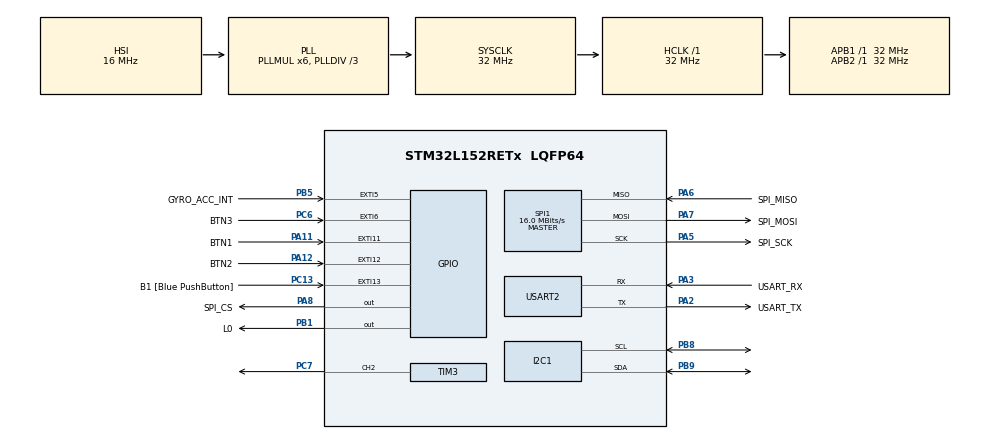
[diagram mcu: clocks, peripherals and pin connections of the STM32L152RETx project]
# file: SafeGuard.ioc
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I2C1.I2C_Mode=I2C_Fast
Mcu.Family=STM32L1
Mcu.Name=STM32L152RETx
Mcu.Package=LQFP64
NVIC.EXTI15_10_IRQn=true\:0\:0\:false\:false\:true\:true\:true\:true
NVIC.EXTI9_5_IRQn=true\:0\:0\:false\:false\:true\:true\:true\:true
NVIC.PriorityGroup=NVIC_PRIORITYGROUP_0
NVIC.SPI1_IRQn=true\:0\:0\:false\:false\:true\:true\:true\:true
NVIC.TIM3_IRQn=true\:0\:0\:false\:false\:true\:true\:true\:true
NVIC.TIM6_IRQn=true\:0\:0\:false\:false\:true\:true\:true\:true
PA11.GPIO_Label=BTN1
PA11.Signal=GPXTI11
PA12.GPIO_Label=BTN2
PA12.Signal=GPXTI12
PA2.GPIO_Label=USART_TX
PA2.GPIO_PuPd=GPIO_NOPULL
PA2.Mode=Asynchronous
PA2.Signal=USART2_TX
PA3.GPIO_Label=USART_RX
PA3.Mode=Asynchronous
PA3.Signal=USART2_RX
PA5.GPIO_Label=SPI_SCK
PA5.Mode=Full_Duplex_Master
PA5.Signal=SPI1_SCK
PA6.GPIO_Label=SPI_MISO
PA6.Mode=Full_Duplex_Master
PA6.Signal=SPI1_MISO
PA7.GPIO_Label=SPI_MOSI
PA7.Mode=Full_Duplex_Master
PA7.Signal=SPI1_MOSI
PA8.GPIO_Label=SPI_CS
PA8.Signal=GPIO_Output
PB1.GPIO_Label=L0
PB1.Signal=GPIO_Output
PB5.GPIO_Label=GYRO_ACC_INT
PB5.Signal=GPXTI5
PB8.GPIO_Speed=GPIO_SPEED_FREQ_VERY_HIGH
PB8.Mode=I2C
PB8.Signal=I2C1_SCL
PB9.Mode=I2C
PB9.Signal=I2C1_SDA
PC13-WKUP2.GPIO_Label=B1 [Blue PushButton]
PC13-WKUP2.Signal=GPXTI13
PC6.GPIO_Label=BTN3
PC6.Signal=GPXTI6
PC7.Signal=S_TIM3_CH2
ProjectManager.HeapSize=0x200
ProjectManager.StackSize=0x400
ProjectManager.TargetToolchain=STM32CubeIDE
RCC.48MHZClocksFreq_Value=48000000
RCC.AHBFreq_Value=32000000
RCC.APB1Freq_Value=32000000
RCC.APB1TimFreq_Value=32000000
RCC.APB2Freq_Value=32000000
RCC.APB2TimFreq_Value=32000000
RCC.HCLKFreq_Value=32000000
RCC.HSE_VALUE=8000000
RCC.HSI_VALUE=16000000
RCC.LSE_VALUE=32768
RCC.MSI_VALUE=2097000
RCC.PLLDIV=RCC_PLL_DIV3
RCC.PLLMUL=RCC_PLL_MUL6
RCC.RTCClockSelectionVirtual=RCC_RTCCLKSOURCE_LSE
RCC.SYSCLKFreq_VALUE=32000000
RCC.SYSCLKSource=RCC_SYSCLKSOURCE_PLLCLK
RCC.USBOutput=48000000
RCC.VCOOutputFreq_Value=96000000
SH.S_TIM3_CH2.0=TIM3_CH2,PWM Generation2 CH2
SPI1.CalculateBaudRate=16.0 MBits/s
SPI1.Direction=SPI_DIRECTION_2LINES
SPI1.Mode=SPI_MODE_MASTER
SPI1.VirtualType=VM_MASTER
TIM3.Channel-PWM\ Generation2\ CH2=TIM_CHANNEL_2
TIM3.Period=1032
TIM3.Prescaler=31
TIM3.Pulse-PWM\ Generation2\ CH2=516
TIM6.Period=200
TIM6.Prescaler=31999
USART2.VirtualMode=VM_ASYNC
VP_TIM3_VS_ClockSourceINT.Mode=Internal
VP_TIM6_VS_ClockSourceINT.Mode=Enable_Timer
board=NUCLEO-L152RE

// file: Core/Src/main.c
/* USER CODE BEGIN Header */
/**
 ******************************************************************************
 * @file           : main.c
 * @brief          : Main program body
 ******************************************************************************
 * @attention
 *
 * Copyright (c) 2025 STMicroelectronics.
 * All rights reserved.
 *
 * This software is licensed under terms that can be found in the LICENSE file
 * in the root directory of this software component.
 * If no LICENSE file comes with this software, it is provided AS-IS.
 *
 ******************************************************************************
 */
/* USER CODE END Header */
#include "main.h"

/* USER CODE BEGIN Includes */
#include <string.h>
#include <stdio.h>
#include "lsm6dso_reg.h"
#include "cycle_dwt.h"
#include "NanoEdgeAI.h"
#include "knowledge.h"
/* USER CODE END Includes */

/* USER CODE BEGIN PD */
/************************************************************ NEAI algorithm defines begin ************************************************************/
/************************************************************ Global settings part ************************************************************/
#ifndef AXIS
#define AXIS                          3                       /* Axis should be defined between 1 and 3 */
#endif
#ifndef SAMPLES
#define SAMPLES                       128                     /* Should be between 16 & 4096 */
#endif
#define MAX_FIFO_SIZE                   256                     /* The maximum number of data we can get in the FIFO is 512 but here we define max to 256 for our need */
#define FIFO_FULL                       512                     /* FIFO full size */
#define FIFO_WORD                       7                       /* FIFO word size composed of 1 byte which is identification tag & 6 bytes of fixed data */
/************************************************************ Sensor type part ************************************************************/
#define ACCELEROMETER                                           /* Could be either ACCELEROMETER or GYROSCOPE */
/************************************************************ Sensors configuration part ************************************************************/
#ifdef ACCELEROMETER
#ifndef ACCELEROMETER_ODR
#define ACCELEROMETER_ODR           LSM6DSO_XL_ODR_1667Hz   /* Should be between LSM6DSO_XL_ODR_12Hz5 and LSM6DSO_XL_ODR_6667Hz */
#endif
#ifndef ACCELEROMETER_FS
#define ACCELEROMETER_FS            LSM6DSO_2g             /* Should be between LSM6DSO_2g and LSM6DSO_16g */
#endif
#else
#ifndef GYROSCOPE_ODR
#define GYROSCOPE_ODR               LSM6DSO_GY_ODR_1667Hz   /* Should be between LSM6DSO_GY_ODR_12Hz5 and LSM6DSO_GY_ODR_6667Hz */
#endif
#ifndef GYROSCOPE_FS
#define GYROSCOPE_FS                LSM6DSO_2000dps         /* Should be between LSM6DSO_125dps and LSM6DSO_2000dps */
#endif
#endif
/************************************************************ Datalogger / NEAI mode part ************************************************************/
#ifndef NEAI_MODE
#define NEAI_MODE                     1                       /* 0: Datalogger mode, 1: NEAI functions mode */
#endif
/************************************************************ NEAI algorithm defines end ************************************************************/

// DETECTION DE CHUTE - PARAMETRES
#define FALL_DETECTION_THRESHOLD_IMPACT      95    // Probabilité minimale pour "Tomber"
#define MIN_CONSECUTIVE_FALLS                2     // Besoin de 2 détections consécutives
#define FALL_RECOVERY_THRESHOLD              60    // Si Tomber < 60%, reset compteur
#define MAX_FALL_SEQUENCE_TIME_MS           3000   // 3 secondes max pour séquence de chute
#define POST_FALL_DURATION_MS               10000  // 10 secondes post-chute
#define DEBUG_FALL_DETECTION				0	   // Mode débug 0 pour désactivé, 1 pour activé
/* USER CODE END PD */

I2C_HandleTypeDef hi2c1;

SPI_HandleTypeDef hspi1;

TIM_HandleTypeDef htim3;
TIM_HandleTypeDef htim6;

UART_HandleTypeDef huart2;

/* USER CODE BEGIN PV */
static uint8_t whoamI, rst;
uint16_t neai_id_class = 0;
uint8_t neai_state = 0;
volatile uint8_t drdy = 0;
uint16_t data_left = (uint16_t) SAMPLES, number_read = 0, neai_buffer_ptr = 0;
float neai_time = 0.0;
static float neai_buffer[AXIS * SAMPLES] = {0.0};
static float neai_output_buffer[CLASS_NUMBER] = {0.0};

const char *id2class[CLASS_NUMBER + 1] = {
		"unknown",
		"Tomber",
		"Pas_bouger",
		"Marche",
};

// DETECTION DE CHUTE - VARIABLES
uint8_t fall_detected = 0;
uint32_t last_fall_time = 0;
#define FALL_COOLDOWN_MS 5000  // 5 secondes entre détections
static uint8_t consecutive_fall_count = 0;
static uint32_t first_fall_time = 0;

// Variables mode post-chute (déplacées ici depuis la fonction)
static uint8_t post_fall_mode = 0;
static uint32_t post_fall_start_time = 0;

static uint32_t total_classifications = 0;
static uint32_t false_positives_avoided = 0;

stmdev_ctx_t dev_ctx;

int alarme=0;
char tempo;
int debounce_flag =0, sequence =0;
/* USER CODE END PV */

void SystemClock_Config(void);
static void MX_GPIO_Init(void);
static void MX_I2C1_Init(void);
static void MX_USART2_UART_Init(void);
static void MX_TIM3_Init(void);
static void MX_TIM6_Init(void);
static void MX_SPI1_Init(void);
/* USER CODE BEGIN PFP */
static int32_t platform_write(void *handle, uint8_t reg, const uint8_t *bufp, uint16_t len);
static int32_t platform_read(void *handle, uint8_t reg, uint8_t *bufp, uint16_t len);
static void lsm6dso_initialize(void);
static void lsm6dso_initialize_basics(void);
static void lsm6dso_initialize_fifo(void);
static void lsm6dso_get_buffer_from_fifo(uint16_t nb);
static float lsm6dso_convert_gyro_data_to_mdps(int16_t gyro_raw_data);
static float lsm6dso_convert_accel_data_to_mg(int16_t accel_raw_data);
static void iks01a3_i2c_stuck_quirk(void);

static void check_fall_detection(void);
static void trigger_fall_alert(void);
/* USER CODE END PFP */

/* USER CODE BEGIN 0 */
void buzzer (uint8_t buzzerState)
{
	if(buzzerState)
	{
		HAL_TIM_PWM_Start_IT(&htim3, TIM_CHANNEL_2);
		printf("Buzzer ON\r\n");
	}
	else
	{
		HAL_TIM_PWM_Stop_IT(&htim3, TIM_CHANNEL_2);
		printf("Buzzer OFF\r\n");
	}
}

void procedure_alarme (void)
{
	tempo = 0x38;
	while (alarme ==1 && tempo>0x30)
	{
		MAX7219_DisplayChar(1, tempo);
		MAX7219_DisplayChar(2, 'S');
		MAX7219_DisplayChar(3, 'E');
		MAX7219_DisplayChar(4, 'C');
		TIM3->ARR = 1032;
		TIM3->CCR2 = TIM3->ARR /2;
		buzzer(1);
		HAL_Delay(500);
		buzzer(0);
		HAL_Delay(500);
		tempo--;
	}

	if (alarme ==1) alarme =2;

	while (alarme ==2)
	{
		TIM3->ARR = 206;
		TIM3->CCR2 = TIM3->ARR/2;
		buzzer(1);
		MAX7219_DisplayChar(1, 'A');
		MAX7219_DisplayChar(2, 'L');
		MAX7219_DisplayChar(3, 'R');
		MAX7219_DisplayChar(4, 'T');
	}
	buzzer(0);
	MAX7219_Clear();
}
/* USER CODE END 0 */

int main(void)
{

  /* USER CODE BEGIN 1 */
	/* Initialize mems driver interface */
	dev_ctx.write_reg = platform_write;
	dev_ctx.read_reg = platform_read;
	dev_ctx.handle = &hi2c1;
  /* USER CODE END 1 */

  /* MCU Configuration--------------------------------------------------------*/

  /* Reset of all peripherals, Initializes the Flash interface and the Systick. */
  HAL_Init();

  /* Configure the system clock */
  SystemClock_Config();

  /* USER CODE BEGIN SysInit */
	iks01a3_i2c_stuck_quirk();
  /* USER CODE END SysInit */

  /* Initialize all configured peripherals */
  MX_GPIO_Init();
  MX_I2C1_Init();
  MX_USART2_UART_Init();
  MX_TIM3_Init();
  MX_TIM6_Init();
  MX_SPI1_Init();
  MAX7219_Init();
  /* USER CODE BEGIN 2 */
	KIN1_InitCycleCounter();
	KIN1_EnableCycleCounter();
	lsm6dso_initialize();
	if (NEAI_MODE) {
		neai_state = neai_classification_init(knowledge);
		printf("Initialize NEAI Classification library. NEAI init return: %d.\r\n", neai_state);

		if (neai_state != NEAI_OK) {
			printf("ERREUR: Échec d'initialisation NanoEdgeAI!\r\n");
			// Gestion d'erreur appropriée
		}

		printf("SafeGuard - Système de détection de chute activé\r\n");
		printf("Classes disponibles: %s, %s, %s\r\n",
				id2class[1], id2class[2], id2class[3]);
	}
  /* USER CODE END 2 */

  /* Infinite loop */
  /* USER CODE BEGIN WHILE */
	while (1)
	{
		uint8_t wtm_flag = 0, status2 = 0;
		uint16_t num = 0;
		if (drdy) {
			/* Reset data ready condition */
			drdy = 0;
			lsm6dso_read_reg(&dev_ctx, LSM6DSO_FIFO_STATUS2, &status2, 1);
			wtm_flag = status2 >> 7;
			if (wtm_flag) {
				lsm6dso_fifo_data_level_get(&dev_ctx, &num);
				if (data_left < num) {
					num = data_left;
				}
				lsm6dso_get_buffer_from_fifo(num);
				data_left -= num;
				number_read += num;
				if (data_left == 0) {
					lsm6dso_fifo_mode_set(&dev_ctx, LSM6DSO_BYPASS_MODE);
#if NEAI_MODE
					uint32_t cycles_cnt = 0;

					// CHANGÉ: Classification au lieu de learn/detect
					KIN1_ResetCycleCounter();
					neai_state = neai_classification(neai_buffer, neai_output_buffer, &neai_id_class);
					cycles_cnt = KIN1_GetCycleCounter();
					neai_time = (cycles_cnt * 1000000.0) / HAL_RCC_GetSysClockFreq();

					// Affichage des résultats
					printf("Classe détectée: %s (ID: %d, Confiance: %.1f%%).\r\n",
							id2class[neai_id_class], neai_id_class, neai_output_buffer[neai_id_class] * 100.0f);
					printf("NEAI classification return: %d. Cycles: %ld = %.1f µs.\r\n",
							neai_state, cycles_cnt, neai_time);

					// Affichage détaillé des probabilités
					printf("Probabilités: \r\n");
					for(int i = 1; i <= CLASS_NUMBER; i++) {
						printf("%s=%.1f%% ", id2class[i], neai_output_buffer[i-1] * 100.0f);
					}
					printf("\r\n");

					// AJOUTÉ: Vérification de détection de chute
					check_fall_detection();
#else
					// Mode datalogger - affichage des données brutes
					for (uint16_t i = 0; i < AXIS * SAMPLES; i++) {
						printf("%.3f ", neai_buffer[i]);
					}
					printf("\r\n");
#endif
					// Reset pour le prochain cycle
					data_left = (uint16_t) SAMPLES;
					number_read = 0;
					memset(neai_buffer, 0x00, AXIS * SAMPLES * sizeof(float));

					if (SAMPLES <= MAX_FIFO_SIZE) {
						lsm6dso_fifo_watermark_set(&dev_ctx, (uint16_t) SAMPLES);
					}
					else {
						lsm6dso_fifo_watermark_set(&dev_ctx, (uint16_t) MAX_FIFO_SIZE);
					}
					lsm6dso_fifo_mode_set(&dev_ctx, LSM6DSO_FIFO_MODE);
				}
				else if (data_left < MAX_FIFO_SIZE) {
					lsm6dso_fifo_watermark_set(&dev_ctx, data_left);
				}
			}
		}
    /* USER CODE END WHILE */

	}
}

void SystemClock_Config(void)
{
  RCC_OscInitTypeDef RCC_OscInitStruct = {0};
  RCC_ClkInitTypeDef RCC_ClkInitStruct = {0};

  /** Configure the main internal regulator output voltage
  */
  __HAL_PWR_VOLTAGESCALING_CONFIG(PWR_REGULATOR_VOLTAGE_SCALE1);

  /** Initializes the RCC Oscillators according to the specified parameters
  * in the RCC_OscInitTypeDef structure.
  */
  RCC_OscInitStruct.OscillatorType = RCC_OSCILLATORTYPE_HSI;
  RCC_OscInitStruct.HSIState = RCC_HSI_ON;
  RCC_OscInitStruct.HSICalibrationValue = RCC_HSICALIBRATION_DEFAULT;
  RCC_OscInitStruct.PLL.PLLState = RCC_PLL_ON;
  RCC_OscInitStruct.PLL.PLLSource = RCC_PLLSOURCE_HSI;
  RCC_OscInitStruct.PLL.PLLMUL = RCC_PLL_MUL6;
  RCC_OscInitStruct.PLL.PLLDIV = RCC_PLL_DIV3;
  if (HAL_RCC_OscConfig(&RCC_OscInitStruct) != HAL_OK)
  {
    Error_Handler();
  }

  /** Initializes the CPU, AHB and APB buses clocks
  */
  RCC_ClkInitStruct.ClockType = RCC_CLOCKTYPE_HCLK|RCC_CLOCKTYPE_SYSCLK
                              |RCC_CLOCKTYPE_PCLK1|RCC_CLOCKTYPE_PCLK2;
  RCC_ClkInitStruct.SYSCLKSource = RCC_SYSCLKSOURCE_PLLCLK;
  RCC_ClkInitStruct.AHBCLKDivider = RCC_SYSCLK_DIV1;
  RCC_ClkInitStruct.APB1CLKDivider = RCC_HCLK_DIV1;
  RCC_ClkInitStruct.APB2CLKDivider = RCC_HCLK_DIV1;

  if (HAL_RCC_ClockConfig(&RCC_ClkInitStruct, FLASH_LATENCY_1) != HAL_OK)
  {
    Error_Handler();
  }
}

static void MX_I2C1_Init(void)
{

  hi2c1.Instance = I2C1;
  hi2c1.Init.ClockSpeed = 400000;
  hi2c1.Init.DutyCycle = I2C_DUTYCYCLE_2;
  hi2c1.Init.OwnAddress1 = 0;
  hi2c1.Init.AddressingMode = I2C_ADDRESSINGMODE_7BIT;
  hi2c1.Init.DualAddressMode = I2C_DUALADDRESS_DISABLE;
  hi2c1.Init.OwnAddress2 = 0;
  hi2c1.Init.GeneralCallMode = I2C_GENERALCALL_DISABLE;
  hi2c1.Init.NoStretchMode = I2C_NOSTRETCH_DISABLE;
  if (HAL_I2C_Init(&hi2c1) != HAL_OK)
  {
    Error_Handler();
  }

}

static void MX_SPI1_Init(void)
{

  /* SPI1 parameter configuration*/
  hspi1.Instance = SPI1;
  hspi1.Init.Mode = SPI_MODE_MASTER;
  hspi1.Init.Direction = SPI_DIRECTION_2LINES;
  hspi1.Init.DataSize = SPI_DATASIZE_8BIT;
  hspi1.Init.CLKPolarity = SPI_POLARITY_LOW;
  hspi1.Init.CLKPhase = SPI_PHASE_1EDGE;
  hspi1.Init.NSS = SPI_NSS_SOFT;
  hspi1.Init.BaudRatePrescaler = SPI_BAUDRATEPRESCALER_2;
  hspi1.Init.FirstBit = SPI_FIRSTBIT_MSB;
  hspi1.Init.TIMode = SPI_TIMODE_DISABLE;
  hspi1.Init.CRCCalculation = SPI_CRCCALCULATION_DISABLE;
  hspi1.Init.CRCPolynomial = 10;
  if (HAL_SPI_Init(&hspi1) != HAL_OK)
  {
    Error_Handler();
  }

}

static void MX_TIM3_Init(void)
{

  TIM_ClockConfigTypeDef sClockSourceConfig = {0};
  TIM_MasterConfigTypeDef sMasterConfig = {0};
  TIM_OC_InitTypeDef sConfigOC = {0};

  htim3.Instance = TIM3;
  htim3.Init.Prescaler = 31;
  htim3.Init.CounterMode = TIM_COUNTERMODE_UP;
  htim3.Init.Period = 1032;
  htim3.Init.ClockDivision = TIM_CLOCKDIVISION_DIV1;
  htim3.Init.AutoReloadPreload = TIM_AUTORELOAD_PRELOAD_DISABLE;
  if (HAL_TIM_Base_Init(&htim3) != HAL_OK)
  {
    Error_Handler();
  }
  sClockSourceConfig.ClockSource = TIM_CLOCKSOURCE_INTERNAL;
  if (HAL_TIM_ConfigClockSource(&htim3, &sClockSourceConfig) != HAL_OK)
  {
    Error_Handler();
  }
  if (HAL_TIM_PWM_Init(&htim3) != HAL_OK)
  {
    Error_Handler();
  }
  sMasterConfig.MasterOutputTrigger = TIM_TRGO_RESET;
  sMasterConfig.MasterSlaveMode = TIM_MASTERSLAVEMODE_DISABLE;
  if (HAL_TIMEx_MasterConfigSynchronization(&htim3, &sMasterConfig) != HAL_OK)
  {
    Error_Handler();
  }
  sConfigOC.OCMode = TIM_OCMODE_PWM1;
  sConfigOC.Pulse = 516;
  sConfigOC.OCPolarity = TIM_OCPOLARITY_HIGH;
  sConfigOC.OCFastMode = TIM_OCFAST_DISABLE;
  if (HAL_TIM_PWM_ConfigChannel(&htim3, &sConfigOC, TIM_CHANNEL_2) != HAL_OK)
  {
    Error_Handler();
  }
  HAL_TIM_MspPostInit(&htim3);

}

static void MX_TIM6_Init(void)
{

  TIM_MasterConfigTypeDef sMasterConfig = {0};

  htim6.Instance = TIM6;
  htim6.Init.Prescaler = 31999;
  htim6.Init.CounterMode = TIM_COUNTERMODE_UP;
  htim6.Init.Period = 200;
  htim6.Init.AutoReloadPreload = TIM_AUTORELOAD_PRELOAD_DISABLE;
  if (HAL_TIM_Base_Init(&htim6) != HAL_OK)
  {
    Error_Handler();
  }
  sMasterConfig.MasterOutputTrigger = TIM_TRGO_RESET;
  sMasterConfig.MasterSlaveMode = TIM_MASTERSLAVEMODE_DISABLE;
  if (HAL_TIMEx_MasterConfigSynchronization(&htim6, &sMasterConfig) != HAL_OK)
  {
    Error_Handler();
  }

}

static void MX_USART2_UART_Init(void)
{

  huart2.Instance = USART2;
  huart2.Init.BaudRate = 115200;
  huart2.Init.WordLength = UART_WORDLENGTH_8B;
  huart2.Init.StopBits = UART_STOPBITS_1;
  huart2.Init.Parity = UART_PARITY_NONE;
  huart2.Init.Mode = UART_MODE_TX_RX;
  huart2.Init.HwFlowCtl = UART_HWCONTROL_NONE;
  huart2.Init.OverSampling = UART_OVERSAMPLING_16;
  if (HAL_UART_Init(&huart2) != HAL_OK)
  {
    Error_Handler();
  }

}

static void MX_GPIO_Init(void)
{
  GPIO_InitTypeDef GPIO_InitStruct = {0};

  /* GPIO Ports Clock Enable */
  __HAL_RCC_GPIOC_CLK_ENABLE();
  __HAL_RCC_GPIOA_CLK_ENABLE();
  __HAL_RCC_GPIOB_CLK_ENABLE();

  /*Configure GPIO pin Output Level */
  HAL_GPIO_WritePin(L0_GPIO_Port, L0_Pin, GPIO_PIN_RESET);

  /*Configure GPIO pin Output Level */
  HAL_GPIO_WritePin(SPI_CS_GPIO_Port, SPI_CS_Pin, GPIO_PIN_RESET);

  /*Configure GPIO pins : B1_Pin BTN3_Pin */
  GPIO_InitStruct.Pin = B1_Pin|BTN3_Pin;
  GPIO_InitStruct.Mode = GPIO_MODE_IT_RISING;
  GPIO_InitStruct.Pull = GPIO_NOPULL;
  HAL_GPIO_Init(GPIOC, &GPIO_InitStruct);

  /*Configure GPIO pin : L0_Pin */
  GPIO_InitStruct.Pin = L0_Pin;
  GPIO_InitStruct.Mode = GPIO_MODE_OUTPUT_PP;
  GPIO_InitStruct.Pull = GPIO_NOPULL;
  GPIO_InitStruct.Speed = GPIO_SPEED_FREQ_LOW;
  HAL_GPIO_Init(L0_GPIO_Port, &GPIO_InitStruct);

  /*Configure GPIO pin : SPI_CS_Pin */
  GPIO_InitStruct.Pin = SPI_CS_Pin;
  GPIO_InitStruct.Mode = GPIO_MODE_OUTPUT_PP;
  GPIO_InitStruct.Pull = GPIO_NOPULL;
  GPIO_InitStruct.Speed = GPIO_SPEED_FREQ_LOW;
  HAL_GPIO_Init(SPI_CS_GPIO_Port, &GPIO_InitStruct);

  /*Configure GPIO pins : BTN1_Pin BTN2_Pin */
  GPIO_InitStruct.Pin = BTN1_Pin|BTN2_Pin;
  GPIO_InitStruct.Mode = GPIO_MODE_IT_RISING;
  GPIO_InitStruct.Pull = GPIO_NOPULL;
  HAL_GPIO_Init(GPIOA, &GPIO_InitStruct);

  /*Configure GPIO pin : GYRO_ACC_INT_Pin */
  GPIO_InitStruct.Pin = GYRO_ACC_INT_Pin;
  GPIO_InitStruct.Mode = GPIO_MODE_IT_RISING;
  GPIO_InitStruct.Pull = GPIO_NOPULL;
  HAL_GPIO_Init(GYRO_ACC_INT_GPIO_Port, &GPIO_InitStruct);

  /* EXTI interrupt init*/
  HAL_NVIC_SetPriority(EXTI9_5_IRQn, 0, 0);
  HAL_NVIC_EnableIRQ(EXTI9_5_IRQn);

  HAL_NVIC_SetPriority(EXTI15_10_IRQn, 0, 0);
  HAL_NVIC_EnableIRQ(EXTI15_10_IRQn);

}

/* USER CODE BEGIN 4 */
/**
 * @brief  Vérifie si une chute a été détectée avec filtres anti-faux-positifs et anti-cascade
 * @retval None
 */
static void check_fall_detection(void)
{
	uint32_t current_time = HAL_GetTick();

	// === FILTRE COOLDOWN GLOBAL ===
	// Éviter les détections multiples rapprochées
	if (current_time - last_fall_time < FALL_COOLDOWN_MS) {
		return;
	}

	// === MODE POST-CHUTE ===
	// Ignorer toute détection pendant 10s après une chute confirmée
	if (post_fall_mode) {
		if (current_time - post_fall_start_time > POST_FALL_DURATION_MS) {
			post_fall_mode = 0;
			printf("🟢 Fin mode post-chute, surveillance normale reprise\r\n");
		} else {
			printf("⏳ Mode post-chute actif (%lu/%d ms)\r\n",
					current_time - post_fall_start_time, POST_FALL_DURATION_MS);
			return;
		}
	}

	float tomber_prob = neai_output_buffer[0] * 100.0f;
	float pas_bouger_prob = neai_output_buffer[1] * 100.0f;
	float marche_prob = neai_output_buffer[2] * 100.0f;

#ifdef DEBUG_FALL_DETECTION
	printf("DEBUG - Classe: %d (%s) | Tomber: %.1f%% | Pas_bouger: %.1f%% | Marche: %.1f%% | Count: %d\r\n",
			neai_id_class, id2class[neai_id_class], tomber_prob, pas_bouger_prob, marche_prob, consecutive_fall_count);
#endif

	// === FILTRE 1: SEUIL PLUS STRICT ===
	if (neai_id_class == 1 && tomber_prob > FALL_DETECTION_THRESHOLD_IMPACT) {

		// Première détection de chute potentielle
		if (consecutive_fall_count == 0) {
			first_fall_time = current_time;
		}

		consecutive_fall_count++;
		printf("🟡 Chute potentielle %d/%d (%.1f%% > %.1f%%)\r\n",
				consecutive_fall_count, MIN_CONSECUTIVE_FALLS, tomber_prob, (float)FALL_DETECTION_THRESHOLD_IMPACT);

		// === FILTRE 2: DÉTECTIONS CONSÉCUTIVES ===
		if (consecutive_fall_count >= MIN_CONSECUTIVE_FALLS) {

			// === FILTRE 3: DURÉE RAISONNABLE DE SÉQUENCE ===
			uint32_t sequence_duration = current_time - first_fall_time;
			if (sequence_duration <= MAX_FALL_SEQUENCE_TIME_MS) {

				// === VRAIE CHUTE DÉTECTÉE ===
				fall_detected = 1;
				last_fall_time = current_time;
				consecutive_fall_count = 0; // Reset pour prochaine fois

				printf("\n🚨 === ALERTE CHUTE CONFIRMÉE === 🚨\r\n");
				printf("Probabilité finale: %.1f%%\r\n", tomber_prob);
				printf("Détections consécutives: %d\r\n", MIN_CONSECUTIVE_FALLS);
				printf("Durée séquence: %lu ms\r\n", sequence_duration);

				trigger_fall_alert();

				// === ACTIVATION MODE POST-CHUTE ===
				post_fall_mode = 1;
				post_fall_start_time = current_time;
				printf("⏳ Mode post-chute activé pour %d secondes\r\n", POST_FALL_DURATION_MS/1000);

				return; // Sortir immédiatement pour éviter cascade

			} else {
				// Séquence trop longue = probablement faux positif
				printf("❌ Séquence trop longue (%lu ms), reset\r\n", sequence_duration);
				consecutive_fall_count = 0;
			}
		}
	}
	// === RESET DU COMPTEUR ===
	else if (neai_id_class == 1 && tomber_prob < FALL_RECOVERY_THRESHOLD) {
		// Tomber détecté mais confiance trop faible = reset
		if (consecutive_fall_count > 0) {
			printf("🔄 Reset compteur chute (%.1f%% < %.1f%%)\r\n", tomber_prob, (float)FALL_RECOVERY_THRESHOLD);
			false_positives_avoided++;
		}
		consecutive_fall_count = 0;
	}
	else if (neai_id_class != 1) {
		// Autre classe détectée = reset total
		if (consecutive_fall_count > 0) {
			printf("🔄 Reset compteur chute (classe: %s)\r\n", id2class[neai_id_class]);
			false_positives_avoided++;
		}
		consecutive_fall_count = 0;

		// Affichage status normal (seulement si pas en mode post-chute)
		switch(neai_id_class) {
		case 2: // Pas bouger
			printf("🟢 Statut: Immobile (%.1f%%)\r\n", pas_bouger_prob);
			break;
		case 3: // Marche
			printf("🔵 Statut: En mouvement/Marche (%.1f%%)\r\n", marche_prob);
			break;
		default:
			printf("❓ Classe inconnue: %d\r\n", neai_id_class);
			break;
		}
	}

	// === TIMEOUT DE SÉQUENCE ===
	if (consecutive_fall_count > 0 && (current_time - first_fall_time) > MAX_FALL_SEQUENCE_TIME_MS) {
		printf("⏰ Timeout séquence chute, reset\r\n");
		false_positives_avoided++;
		consecutive_fall_count = 0;
	}

	total_classifications++;
}

/**
 * @brief  Déclenche l'alerte de chute (LED, buzzer, transmission, etc.)
 * @retval None
 */
static void trigger_fall_alert(void)
{
	// Allumer la LED d'alerte
	HAL_GPIO_WritePin(L0_GPIO_Port, L0_Pin, GPIO_PIN_SET);

	// TODO: Ajouter ici:
	// - Activation buzzer/sirène
	alarme = 1;
	procedure_alarme();
	// - Envoi SMS/notification
	// - Transmission radio/LoRa/WiFi
	// - Logs dans mémoire

	printf("🚨 Procédures d'urgence activées!\r\n");
	printf("Timestamp: %lu ms\r\n", HAL_GetTick());

	// Simulation temporisation d'alerte (à remplacer par vraie logique)
	HAL_Delay(1000);
	HAL_GPIO_WritePin(L0_GPIO_Port, L0_Pin, GPIO_PIN_RESET);
}

/**
 * @brief  Redirecting stdout to USART2 which is connected on the STLINK port
 * @retval
 * @param
 */
int __io_putchar(int ch)
{
	uint8_t c[1];
	c[0] = ch & 0x00FF;
	HAL_UART_Transmit(&huart2, &*c, 1, 10);
	return ch;
}

/**
 * @brief  EXTI line rising detection callback.
 * @param  GPIO_Pin Specifies the port pin connected to corresponding EXTI line.
 * @retval None
 */
void HAL_GPIO_EXTI_Callback(uint16_t GPIO_Pin)
{
	if (!debounce_flag)
		{
			__HAL_TIM_SET_COUNTER(&htim6, 0);
			HAL_TIM_Base_Start_IT(&htim6);

			switch (GPIO_Pin)
			{
			case (B1_Pin):
					if (alarme ==1) alarme =0;
					break;

			case (BTN1_Pin):
					if (sequence ==0 && alarme ==2) sequence =1;
					else sequence =0;
					break;

			case (BTN2_Pin):
					if (sequence ==0 && alarme ==2) sequence =2;
					else sequence =0;
					break;

			case (BTN3_Pin):
					if (sequence ==0 && alarme ==2)
						{
							sequence =3;
							alarme = 0;
						}
					else sequence =0;
					break;
			}
		}

	switch(GPIO_Pin) {
		case GYRO_ACC_INT_Pin:
			drdy = 1;
			break;

	}
}

/*
 * @brief  Write generic device register (platform dependent)
 *
 * @param  handle    customizable argument. In this examples is used in
 *                   order to select the correct sensor bus handler.
 * @param  reg       register to write
 * @param  bufp      pointer to data to write in register reg
 * @param  len       number of consecutive register to write
 *
 */
static int32_t platform_write(void *handle, uint8_t reg, const uint8_t *bufp,
		uint16_t len)
{
	HAL_I2C_Mem_Write(handle, LSM6DSO_I2C_ADD_H, reg, I2C_MEMADD_SIZE_8BIT, (uint8_t*) bufp, len, 1000);
	return 0;
}

/*
 * @brief  Read generic device register (platform dependent)
 *
 * @param  handle    customizable argument. In this examples is used in
 *                   order to select the correct sensor bus handler.
 * @param  reg       register to read
 * @param  bufp      pointer to buffer that store the data read
 * @param  len       number of consecutive register to read
 *
 */
static int32_t platform_read(void *handle, uint8_t reg, uint8_t *bufp,
		uint16_t len)
{
	HAL_I2C_Mem_Read(handle, LSM6DSO_I2C_ADD_H, reg, I2C_MEMADD_SIZE_8BIT, bufp, len, 1000);
	return 0;
}

/*
 * @brief  Initialize LSM6DSO sensor interface
 *
 * @param  No
 *
 * @return No
 *
 */
static void lsm6dso_initialize()
{
	lsm6dso_initialize_basics();
#ifdef ACCELEROMETER
	/* Accelelerometer configuration */
	lsm6dso_xl_data_rate_set(&dev_ctx, ACCELEROMETER_ODR);
	lsm6dso_xl_full_scale_set(&dev_ctx, ACCELEROMETER_FS);
#else
	/* Gyroscope configuration */
	lsm6dso_gy_data_rate_set(&dev_ctx, GYROSCOPE_ODR);
	lsm6dso_gy_full_scale_set(&dev_ctx, GYROSCOPE_FS);
#endif
	lsm6dso_initialize_fifo();
}

/*
 * @brief  Initialize LSM6DSO basics
 *
 * @param  No
 *
 * @return No
 *
 */
static void lsm6dso_initialize_basics()
{
	/* Check device ID */
	whoamI = 0;

	do {
		HAL_Delay(20);
		lsm6dso_device_id_get(&dev_ctx, &whoamI);
	} while(whoamI != LSM6DSO_ID);

	/* Restore default configuration */
	lsm6dso_reset_set(&dev_ctx, PROPERTY_ENABLE);

	do {
		lsm6dso_reset_get(&dev_ctx, &rst);
	} while (rst);

	/* Disable I3C interface */
	lsm6dso_i3c_disable_set(&dev_ctx, LSM6DSO_I3C_DISABLE);
}

/*
 * @brief  Initialize LSM6DSO internal FIFO
 *
 * @param  No
 *
 * @return No
 *
 */
static void lsm6dso_initialize_fifo()
{
#ifdef ACCELEROMETER
	/* Batch odr config */
	lsm6dso_fifo_xl_batch_set(&dev_ctx, ACCELEROMETER_ODR);
	lsm6dso_fifo_gy_batch_set(&dev_ctx, 0);
#else
	/* Batch odr config */
	lsm6dso_fifo_xl_batch_set(&dev_ctx, 0);
	lsm6dso_fifo_gy_batch_set(&dev_ctx, GYROSCOPE_ODR);
#endif
	/* FIFO MODE */
	lsm6dso_fifo_mode_set(&dev_ctx, LSM6DSO_FIFO_MODE);
	/* Watermark config */
	if (SAMPLES <= MAX_FIFO_SIZE) {
		lsm6dso_fifo_watermark_set(&dev_ctx, (uint16_t) SAMPLES);
	}
	else {
		lsm6dso_fifo_watermark_set(&dev_ctx, (uint16_t) MAX_FIFO_SIZE);
	}
	/* Need to enable interrupt pin when wtm is reached */
	uint8_t ctrl = 0x08;
	lsm6dso_write_reg(&dev_ctx, LSM6DSO_INT1_CTRL, (uint8_t *) &ctrl, 1);
}

/*
 * @brief  Get accelerometer or gyroscope data from
 *         LSM6DSO using the internal FIFO buffer
 *
 * @param  No
 *
 * @return No
 *
 */
static void lsm6dso_get_buffer_from_fifo(uint16_t nb)
{
	uint8_t reg_tag = 0;
	uint8_t buff_tmp[nb * FIFO_WORD];
	/*
	 * The data stored in FIFO are accessible from dedicated registers and each FIFO word is composed of 7
	 * bytes: one tag byte (FIFO_DATA_OUT_TAG (78h)), in order to identify the sensor, and 6 bytes of fixed data
	 * (FIFO_DATA_OUT registers from (79h) to (7Eh))
	 * So, here we read the fifo in only one transaction in order to save time
	 */
	lsm6dso_read_reg(&dev_ctx, LSM6DSO_FIFO_DATA_OUT_TAG, buff_tmp, nb * FIFO_WORD);
	for (uint16_t i = 0; i < nb; i++) {
		/* According to the datasheet, the TAG_SENSOR is the 5 MSB of the FIFO_DATA_OUT_TAG register, so we shift 3 bits to the right */
		reg_tag = buff_tmp[FIFO_WORD * i] >> 3;
		if(reg_tag == LSM6DSO_XL_NC_TAG) {
			for(uint8_t j = 0; j < AXIS; j++) {
				neai_buffer[(AXIS * neai_buffer_ptr) + (AXIS * i) + j] = lsm6dso_convert_accel_data_to_mg((uint16_t) buff_tmp[(FIFO_WORD * i) + (2 * j) + 2] << 8 | buff_tmp[(FIFO_WORD * i) + (2 * j) + 1]);
			}
		}
		else if(reg_tag == LSM6DSO_GYRO_NC_TAG) {
			for(uint8_t j = 0; j < AXIS; j++) {
				neai_buffer[(AXIS * neai_buffer_ptr) + (AXIS * i) + j] = lsm6dso_convert_gyro_data_to_mdps((uint16_t) buff_tmp[(FIFO_WORD * i) + (2 * j) + 2] << 8 | buff_tmp[(FIFO_WORD * i) + (2 * j) + 1]);
			}
		}
	}
	neai_buffer_ptr += nb;
	if (neai_buffer_ptr == SAMPLES) {
		neai_buffer_ptr = 0;
	}
}

/*
 * @brief  Convert gyroscope raw data to milli degrees per second (mdps)
 *
 * @param  gyro_raw_data: which is gyroscope raw data
 *                        depending on the full scale selected
 *
 * @return The converted value in milli degrees per second (mdps)
 *
 */
static float lsm6dso_convert_gyro_data_to_mdps(int16_t gyro_raw_data)
{
	float gyro_data_mdps = 0.0;
#ifdef GYROSCOPE
	switch (GYROSCOPE_FS)
	{
	case LSM6DSO_125dps:
		gyro_data_mdps = lsm6dso_from_fs125_to_mdps(gyro_raw_data);
		break;
	case LSM6DSO_250dps:
		gyro_data_mdps = lsm6dso_from_fs250_to_mdps(gyro_raw_data);
		break;
	case LSM6DSO_500dps:
		gyro_data_mdps = lsm6dso_from_fs500_to_mdps(gyro_raw_data);
		break;
	case LSM6DSO_1000dps:
		gyro_data_mdps = lsm6dso_from_fs1000_to_mdps(gyro_raw_data);
		break;
	case LSM6DSO_2000dps:
		gyro_data_mdps = lsm6dso_from_fs2000_to_mdps(gyro_raw_data);
		break;
	default:
		gyro_data_mdps = 0.0;
		break;
	}
#endif
	return gyro_data_mdps;
}

/*
 * @brief  Convert accelerometer raw data to milli-G' (mg)
 *
 * @param  accel_raw_data: which is accelerometer raw data
 *                        depending on the full scale selected
 *
 * @return The converted value in milli-G' (mg)
 *
 */
static float lsm6dso_convert_accel_data_to_mg(int16_t accel_raw_data)
{
	float accel_data_mg = 0.0;
#ifdef ACCELEROMETER
	switch (ACCELEROMETER_FS)
	{
	case LSM6DSO_2g:
		accel_data_mg = lsm6dso_from_fs2_to_mg(accel_raw_data);
		break;
	case LSM6DSO_4g:
		accel_data_mg = lsm6dso_from_fs4_to_mg(accel_raw_data);
		break;
	case LSM6DSO_8g:
		accel_data_mg = lsm6dso_from_fs8_to_mg(accel_raw_data);
		break;
	case LSM6DSO_16g:
		accel_data_mg = lsm6dso_from_fs16_to_mg(accel_raw_data);
		break;
	default:
		accel_data_mg = 0.0;
		break;
	}
#endif
	return accel_data_mg;
}

/*
 * Pressing the reset button while the sensor is answering to a read request
 * might lead to disaster.
 * In this case the device is stuck, waiting for pulses on SCL to finish the
 * previous transfer.
 * While stuck the sensor keep the SDA low.
 *
 * As a workaround we simply configure the SCL pin as a GPIO and send a burst
 * of pulses to bring the sensor back to an idle state.
 */
static void iks01a3_i2c_stuck_quirk(void)
{
	GPIO_InitTypeDef GPIO_InitStruct = {0};

	/* GPIO Ports Clock Enable */
	__HAL_RCC_GPIOB_CLK_ENABLE();

	/* Configure SCL as a GPIO */
	GPIO_InitStruct.Pin = SCL_PIN;
	GPIO_InitStruct.Mode = GPIO_MODE_OUTPUT_PP;
	GPIO_InitStruct.Pull = GPIO_NOPULL;
	GPIO_InitStruct.Speed = GPIO_SPEED_FREQ_LOW;
	GPIO_InitStruct.Alternate = GPIO_AF4_I2C1;
	HAL_GPIO_Init(SCL_PORT, &GPIO_InitStruct);

	/* Send a burst of pulses on SCL */
	int pulses = 20;
	do {
		HAL_Delay(1);
		HAL_GPIO_WritePin(SCL_PORT, SCL_PIN, GPIO_PIN_RESET);
		HAL_Delay(1);
		HAL_GPIO_WritePin(SCL_PORT, SCL_PIN, GPIO_PIN_SET);
	} while (pulses--);

	/* GPIO Ports Clock Enable */
	__HAL_RCC_GPIOB_CLK_DISABLE();
}
/* USER CODE END 4 */

void Error_Handler(void)
{
	__disable_irq();
	while (1)
	{
	}
}
